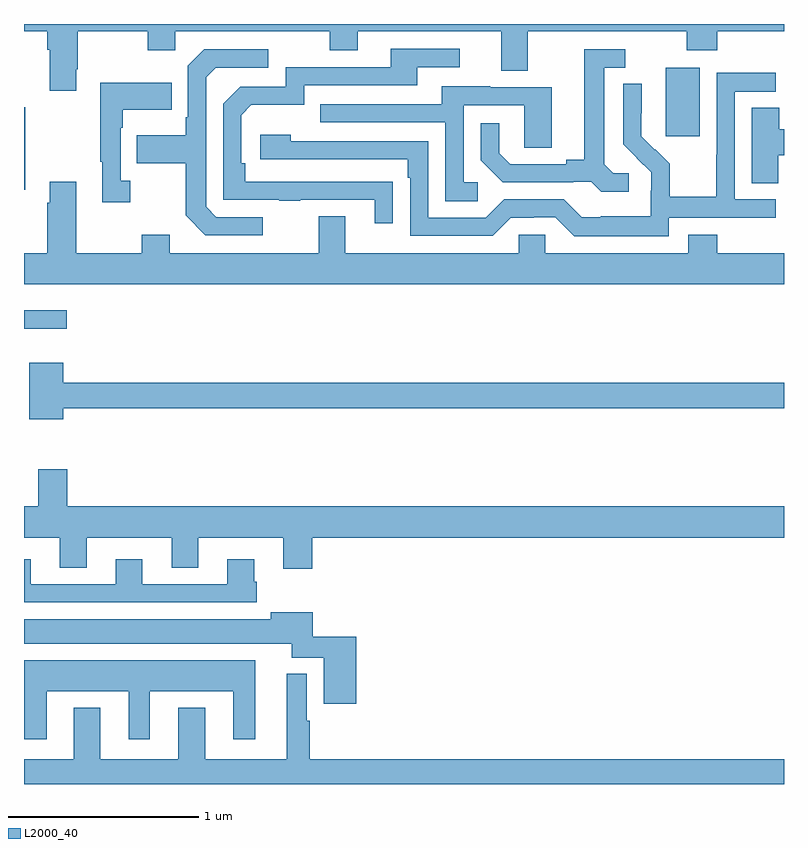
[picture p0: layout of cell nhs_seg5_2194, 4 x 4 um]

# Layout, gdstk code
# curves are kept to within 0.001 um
import gdstk
lib = gdstk.Library(unit=1e-6, precision=1e-09)
def R(c, l, rs):  # rectangles x0, y0, x1, y1
    for r in rs: c.add(gdstk.rectangle(r[:2], r[2:], *l))
def P(c, l, *ps):  # polygons
    for p in ps: c.add(gdstk.Polygon(p, *l))
L2000_40 = (2000, 40)

nhs_seg5_2194 = lib.new_cell('nhs_seg5_2194')
R(nhs_seg5_2194, L2000_40, [(239,855.195,239.224,855.292), (239,855.926,239.007,856.361), (242.378,856.209,242.557,856.57)])
P(nhs_seg5_2194, L2000_40, [(239.275,856.561),(239.283,856.561),(239.283,856.76),(239.65,856.76),(239.65,856.661),(239.796,856.661),(239.796,856.76),(240.61,856.76),(240.61,856.661),(240.757,856.661),(240.757,856.76),(241.511,856.76),(241.511,856.552),(241.651,856.552),(241.651,856.76),(242.488,856.76),(242.488,856.661),(242.648,856.661),(242.648,856.76),(243,856.76),(243,856.799),(239,856.799),(239,856.76),(239.123,856.76),(239.123,856.664),(239.135,856.664),(239.135,856.449),(239.275,856.449)],
  [(240.941,855.968),(240.164,855.969),(240.164,856.066),(240.144,856.066),(240.144,856.32),(240.197,856.373),(240.474,856.373),(240.474,856.476),(241.069,856.476),(241.069,856.572),(241.294,856.572),(241.294,856.668),(240.929,856.668),(240.929,856.572),(240.378,856.572),(240.378,856.47),(240.138,856.47),(240.048,856.38),(240.048,855.873),(240.343,855.873),(240.343,855.868),(240.455,855.868),(240.455,855.873),(240.845,855.873),(240.845,855.75),(240.941,855.75)],
  [(242.182,856.014),(242.1,856.014),(242.053,856.061),(242.053,856.569),(242.164,856.569),(242.164,856.665),(241.949,856.665),(241.949,856.085),(241.853,856.085),(241.853,856.062),(241.558,856.062),(241.501,856.119),(241.501,856.276),(241.404,856.276),(241.404,856.082),(241.52,855.966),(241.892,855.966),(241.892,855.969),(241.986,855.969),(242.038,855.917),(242.182,855.917)],
  [(240.256,855.783),(240.012,855.783),(239.958,855.837),(239.958,856.518),(240.009,856.569),(240.286,856.569),(240.286,856.665),(239.949,856.665),(239.862,856.578),(239.862,856.309),(239.85,856.309),(239.85,856.213),(239.593,856.213),(239.593,856.066),(239.85,856.066),(239.85,855.793),(239.955,855.687),(240.256,855.687)],
  [(242.394,855.78),(242.956,855.78),(242.956,855.876),(242.742,855.876),(242.742,856.443),(242.956,856.443),(242.956,856.542),(242.646,856.542),(242.646,856.112),(242.644,856.112),(242.644,855.889),(242.399,855.889),(242.399,856.063),(242.322,856.14),(242.319,856.137),(242.249,856.208),(242.25,856.484),(242.154,856.484),(242.154,856.166),(242.3,856.018),(242.3,855.921),(242.298,855.921),(242.298,855.787),(242.035,855.787),(242.035,855.783),(241.935,855.783),(241.842,855.876),(241.527,855.876),(241.431,855.78),(241.128,855.78),(241.128,856.182),(240.404,856.182),(240.404,856.216),(240.243,856.216),(240.243,856.086),(241.019,856.086),(241.019,855.989),(241.032,855.989),(241.032,855.684),(241.467,855.684),(241.563,855.78),(241.682,855.78),(241.682,855.783),(241.797,855.783),(241.897,855.683),(242.394,855.683)],
  [(239.56,855.974),(239.508,855.974),(239.508,856.253),(239.521,856.253),(239.521,856.349),(239.777,856.349),(239.777,856.489),(239.4,856.489),(239.4,856.073),(239.411,856.073),(239.411,855.861),(239.56,855.861)],
  [(241.387,855.966),(241.314,855.966),(241.314,856.371),(241.632,856.371),(241.632,856.147),(241.777,856.147),(241.777,856.467),(241.453,856.467),(241.453,856.471),(241.199,856.471),(241.199,856.377),(240.559,856.377),(240.559,856.281),(241.218,856.281),(241.218,855.865),(241.387,855.865)],
  [(242.97,856.108),(243,856.108),(243,856.244),(242.975,856.244),(242.975,856.358),(242.831,856.358),(242.831,855.961),(242.97,855.961)],
  [(243,855.592),(242.648,855.592),(242.648,855.691),(242.495,855.691),(242.495,855.592),(241.743,855.592),(241.743,855.69),(241.605,855.69),(241.605,855.592),(240.691,855.592),(240.691,855.787),(240.551,855.787),(240.551,855.592),(239.767,855.592),(239.767,855.691),(239.62,855.691),(239.62,855.592),(239.275,855.592),(239.275,855.97),(239.135,855.97),(239.135,855.857),(239.123,855.857),(239.123,855.592),(239,855.592),(239,855.428),(243,855.428)],
  [(239.206,854.776),(243,854.776),(243,854.912),(239.206,854.912),(239.206,855.016),(239.027,855.016),(239.027,854.72),(239.206,854.72)],
  [(240.518,854.096),(243,854.096),(243,854.26),(239.228,854.26),(239.228,854.455),(239.075,854.455),(239.075,854.26),(239,854.26),(239,854.096),(239.189,854.096),(239.189,853.936),(239.329,853.936),(239.329,854.096),(239.777,854.096),(239.777,853.936),(239.917,853.936),(239.917,854.096),(240.365,854.096),(240.365,853.932),(240.518,853.932)],
  [(240.224,853.863),(240.211,853.863),(240.211,853.981),(240.071,853.981),(240.071,853.851),(239.623,853.851),(239.623,853.981),(239.483,853.981),(239.483,853.851),(239.035,853.851),(239.035,853.981),(239,853.981),(239,853.755),(240.224,853.755)],
  [(240.749,853.573),(240.52,853.573),(240.52,853.702),(240.299,853.702),(240.299,853.666),(239,853.666),(239,853.538),(240.41,853.538),(240.41,853.463),(240.578,853.463),(240.578,853.221),(240.749,853.221)],
  [(239.119,853.286),(239.552,853.286),(239.552,853.035),(239.662,853.035),(239.662,853.286),(240.101,853.286),(240.101,853.035),(240.217,853.035),(240.217,853.45),(239,853.45),(239,853.035),(239.119,853.035)],
  [(240.505,853.133),(240.487,853.133),(240.487,853.378),(240.383,853.378),(240.383,852.928),(239.953,852.928),(239.953,853.201),(239.813,853.201),(239.813,852.928),(239.401,852.928),(239.401,853.201),(239.261,853.201),(239.261,852.928),(239,852.928),(239,852.799),(243,852.799),(243,852.928),(240.505,852.928)])

lib.write_gds('nhs_seg5_2194.gds')
